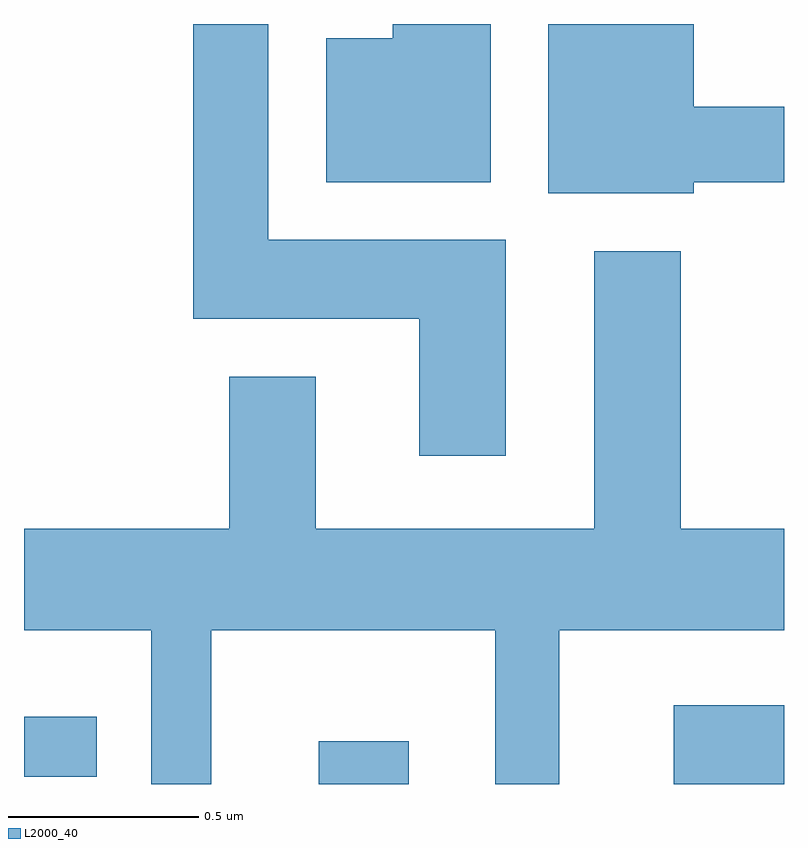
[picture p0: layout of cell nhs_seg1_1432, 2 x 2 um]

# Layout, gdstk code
import gdstk
lib = gdstk.Library(unit=1e-6, precision=1e-09)
def R(c, l, rs):  # rectangles x0, y0, x1, y1
    for r in rs: c.add(gdstk.rectangle(r[:2], r[2:], *l))
def P(c, l, *ps):  # polygons
    for p in ps: c.add(gdstk.Polygon(p, *l))
L2000_40 = (2000, 40)

nhs_seg1_1432 = lib.new_cell('nhs_seg1_1432')
R(nhs_seg1_1432, L2000_40, [(196.386,914.712,196.624,914.824), (197.321,914.712,197.611,914.919), (195.611,914.731,195.803,914.889)])
P(nhs_seg1_1432, L2000_40, [(196.879,916.144),(196.254,916.144),(196.254,916.712),(196.056,916.712),(196.056,915.936),(196.651,915.936),(196.651,915.576),(196.879,915.576)],
  [(196.839,916.712),(196.581,916.712),(196.581,916.674),(196.406,916.674),(196.406,916.296),(196.839,916.296)],
  [(197.374,916.296),(197.611,916.296),(197.611,916.494),(197.374,916.494),(197.374,916.712),(196.991,916.712),(196.991,916.266),(197.374,916.266)],
  [(196.104,915.116),(196.851,915.116),(196.851,914.712),(197.019,914.712),(197.019,915.116),(197.611,915.116),(197.611,915.384),(197.339,915.384),(197.339,916.114),(197.111,916.114),(197.111,915.384),(196.379,915.384),(196.379,915.784),(196.151,915.784),(196.151,915.384),(195.611,915.384),(195.611,915.116),(195.946,915.116),(195.946,914.712),(196.104,914.712)])

lib.write_gds('nhs_seg1_1432.gds')
